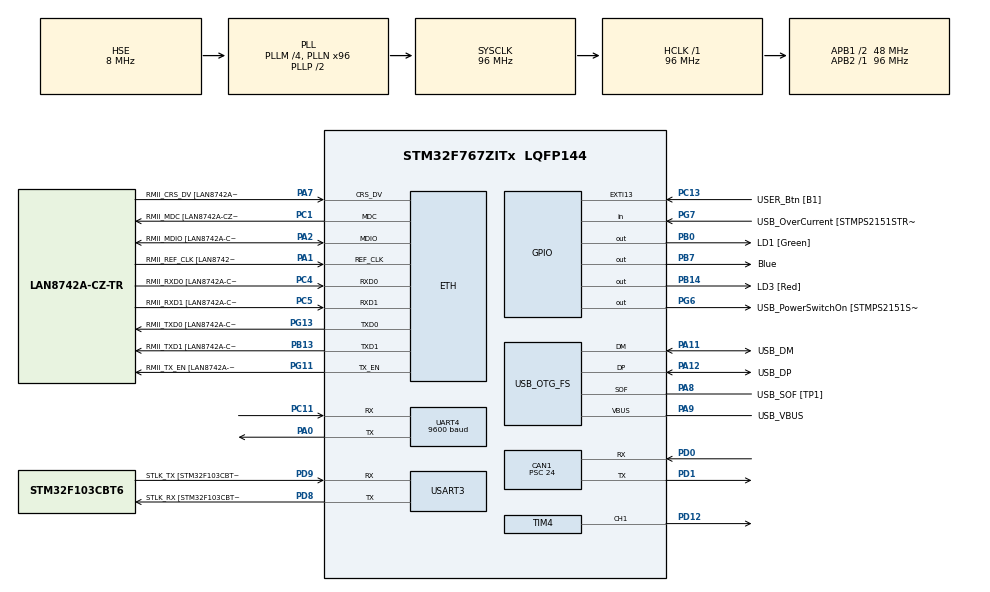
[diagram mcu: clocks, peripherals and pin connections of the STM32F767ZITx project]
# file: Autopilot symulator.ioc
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CAN1.BS1=CAN_BS1_2TQ
CAN1.CalculateBaudRate=500000
CAN1.CalculateTimeBit=2000
CAN1.CalculateTimeQuantum=500.0
CAN1.Prescaler=24
Dma.Request0=TIM4_CH1
Dma.TIM4_CH1.0.Direction=DMA_MEMORY_TO_PERIPH
Dma.TIM4_CH1.0.FIFOMode=DMA_FIFOMODE_DISABLE
Dma.TIM4_CH1.0.Instance=DMA1_Stream0
Dma.TIM4_CH1.0.MemDataAlignment=DMA_MDATAALIGN_HALFWORD
Dma.TIM4_CH1.0.MemInc=DMA_MINC_ENABLE
Dma.TIM4_CH1.0.Mode=DMA_NORMAL
Dma.TIM4_CH1.0.PeriphDataAlignment=DMA_PDATAALIGN_HALFWORD
Dma.TIM4_CH1.0.PeriphInc=DMA_PINC_DISABLE
Dma.TIM4_CH1.0.Priority=DMA_PRIORITY_LOW
ETH.MediaInterface=HAL_ETH_RMII_MODE
ETH.PHY_Name=LAN8742A_PHY_ADDRESS
ETH.PHY_Value=0
ETH.PhyAddress=0
Mcu.Family=STM32F7
Mcu.Name=STM32F767ZITx
Mcu.Package=LQFP144
NVIC.CAN1_RX0_IRQn=true\:0\:0\:false\:false\:true\:true\:true\:true
NVIC.DMA1_Stream0_IRQn=true\:0\:0\:false\:false\:true\:false\:true\:true
NVIC.PriorityGroup=NVIC_PRIORITYGROUP_4
NVIC.UART4_IRQn=true\:0\:0\:false\:false\:true\:true\:true\:true
PA0/WKUP.Mode=Asynchronous
PA0/WKUP.Signal=UART4_TX
PA1.GPIO_Label=RMII_REF_CLK [LAN8742A-CZ-TR_REFCLK0]
PA1.Mode=RMII
PA1.Signal=ETH_REF_CLK
PA10.GPIO_Label=USB_ID
PA10.Signal=USB_OTG_FS_ID
PA11.GPIO_Label=USB_DM
PA11.Mode=Device_Only
PA11.Signal=USB_OTG_FS_DM
PA12.GPIO_Label=USB_DP
PA12.Mode=Device_Only
PA12.Signal=USB_OTG_FS_DP
PA13.GPIO_Label=TMS
PA13.Mode=Serial_Wire
PA13.Signal=SYS_JTMS-SWDIO
PA14.GPIO_Label=TCK
PA14.Mode=Serial_Wire
PA14.Signal=SYS_JTCK-SWCLK
PA2.GPIO_Label=RMII_MDIO [LAN8742A-CZ-TR_MDIO]
PA2.Mode=RMII
PA2.Signal=ETH_MDIO
PA7.GPIO_Label=RMII_CRS_DV [LAN8742A-CZ-TR_CRS_DV]
PA7.Mode=RMII
PA7.Signal=ETH_CRS_DV
PA8.GPIO_Label=USB_SOF [TP1]
PA8.Mode=Activate_SOF_FS
PA8.Signal=USB_OTG_FS_SOF
PA9.GPIO_Label=USB_VBUS
PA9.Mode=Activate_VBUS
PA9.Signal=USB_OTG_FS_VBUS
PB0.GPIO_Label=LD1 [Green]
PB0.Signal=GPIO_Output
PB13.GPIO_Label=RMII_TXD1 [LAN8742A-CZ-TR_TXD1]
PB13.Mode=RMII
PB13.Signal=ETH_TXD1
PB14.GPIO_Label=LD3 [Red]
PB14.Signal=GPIO_Output
PB3.GPIO_Label=SWO
PB3.Signal=SYS_JTDO-SWO
PB7.GPIO_Label=Blue
PB7.Signal=GPIO_Output
PC1.GPIO_Label=RMII_MDC [LAN8742A-CZ-TR_MDC]
PC1.Mode=RMII
PC1.Signal=ETH_MDC
PC11.Mode=Asynchronous
PC11.Signal=UART4_RX
PC13.GPIO_Label=USER_Btn [B1]
PC13.Signal=GPXTI13
PC14/OSC32_IN.Mode=LSE-External-Oscillator
PC14/OSC32_IN.Signal=RCC_OSC32_IN
PC15/OSC32_OUT.Mode=LSE-External-Oscillator
PC15/OSC32_OUT.Signal=RCC_OSC32_OUT
PC4.GPIO_Label=RMII_RXD0 [LAN8742A-CZ-TR_RXD0]
PC4.Mode=RMII
PC4.Signal=ETH_RXD0
PC5.GPIO_Label=RMII_RXD1 [LAN8742A-CZ-TR_RXD1]
PC5.Mode=RMII
PC5.Signal=ETH_RXD1
PD0.Mode=CAN_Activate
PD0.Signal=CAN1_RX
PD1.Mode=CAN_Activate
PD1.Signal=CAN1_TX
PD12.Signal=S_TIM4_CH1
PD8.GPIO_Label=STLK_RX [STM32F103CBT6_PA3]
PD8.Mode=Asynchronous
PD8.Signal=USART3_TX
PD9.GPIO_Label=STLK_TX [STM32F103CBT6_PA2]
PD9.Mode=Asynchronous
PD9.Signal=USART3_RX
PG11.GPIO_Label=RMII_TX_EN [LAN8742A-CZ-TR_TXEN]
PG11.Mode=RMII
PG11.Signal=ETH_TX_EN
PG13.GPIO_Label=RMII_TXD0 [LAN8742A-CZ-TR_TXD0]
PG13.Mode=RMII
PG13.Signal=ETH_TXD0
PG6.GPIO_Label=USB_PowerSwitchOn [STMPS2151STR_EN]
PG6.Signal=GPIO_Output
PG7.GPIO_Label=USB_OverCurrent [STMPS2151STR_FAULT]
PG7.Signal=GPIO_Input
PH0/OSC_IN.GPIO_Label=MCO [STM32F103CBT6_PA8]
PH0/OSC_IN.Mode=HSE-External-Oscillator
PH0/OSC_IN.Signal=RCC_OSC_IN
PH1/OSC_OUT.Mode=HSE-External-Oscillator
PH1/OSC_OUT.Signal=RCC_OSC_OUT
ProjectManager.HeapSize=0x200
ProjectManager.StackSize=0x400
ProjectManager.TargetToolchain=STM32CubeIDE
RCC.48MHZClocksFreq_Value=24000000
RCC.AHBFreq_Value=96000000
RCC.APB1CLKDivider=RCC_HCLK_DIV2
RCC.APB1Freq_Value=48000000
RCC.APB1TimFreq_Value=96000000
RCC.APB2Freq_Value=96000000
RCC.APB2TimFreq_Value=96000000
RCC.CortexFreq_Value=96000000
RCC.HCLKFreq_Value=96000000
RCC.HSE_VALUE=8000000
RCC.HSI_VALUE=16000000
RCC.PLLM=4
RCC.PLLMUL=RCC_PLL_MUL9
RCC.PLLN=96
RCC.PLLQ=4
RCC.PRESCALERUSB=RCC_USBCLKSOURCE_PLL_DIV1_5
RCC.SYSCLKFreq_VALUE=96000000
RCC.SYSCLKSource=RCC_SYSCLKSOURCE_PLLCLK
RCC.SYSCLKSourceVirtual=RCC_SYSCLKSOURCE_PLLCLK
RCC.USBFreq_Value=48000000
RCC.VCOOutputFreq_Value=192000000
SH.S_TIM4_CH1.0=TIM4_CH1,PWM Generation1 CH1
TIM4.Channel-PWM\ Generation1\ CH1=TIM_CHANNEL_1
TIM4.Period=5000-1
TIM4.Prescaler=96-1
UART4.BaudRate=9600
USART3.VirtualMode-Asynchronous=VM_ASYNC
USB_OTG_FS.VirtualMode=Device_Only
VP_TIM4_VS_ClockSourceINT.Mode=Internal
board=NUCLEO-F767ZI

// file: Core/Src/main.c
/* USER CODE BEGIN Header */
/**
  ******************************************************************************
  * @file           : main.c
  * @brief          : Main program body
  ******************************************************************************
  * @attention
  *
  * Copyright (c) 2024 STMicroelectronics.
  * All rights reserved.
  *
  * This software is licensed under terms that can be found in the LICENSE file
  * in the root directory of this software component.
  * If no LICENSE file comes with this software, it is provided AS-IS.
  *
  ******************************************************************************
  */
/* USER CODE END Header */
#include "main.h"
#include "string.h"

/* USER CODE BEGIN PTD */
typedef enum {
	NONE,
	PWM,
	CAN
}CommunicationType;
/* USER CODE END PTD */

/* USER CODE BEGIN PD */
#define DELAY 500
#define TX_BUFFER 23
#define TX_BOOT 17
#define TX_PERC 17
#define TX_TYPE 17
#define TX_ASK 16
#define TX_SPEED 17
#define RX_DATA 5
#define UART_TIMEOUT 15
#define NUMBERS 10
#define CAN_DATA 8
/* USER CODE END PD */

#if defined ( __ICCARM__ ) /*!< IAR Compiler */
#pragma location=0x2007c000
ETH_DMADescTypeDef  DMARxDscrTab[ETH_RX_DESC_CNT]; /* Ethernet Rx DMA Descriptors */
#pragma location=0x2007c0a0
ETH_DMADescTypeDef  DMATxDscrTab[ETH_TX_DESC_CNT]; /* Ethernet Tx DMA Descriptors */

#elif defined ( __CC_ARM )  /* MDK ARM Compiler */

__attribute__((at(0x2007c000))) ETH_DMADescTypeDef  DMARxDscrTab[ETH_RX_DESC_CNT]; /* Ethernet Rx DMA Descriptors */
__attribute__((at(0x2007c0a0))) ETH_DMADescTypeDef  DMATxDscrTab[ETH_TX_DESC_CNT]; /* Ethernet Tx DMA Descriptors */

#elif defined ( __GNUC__ ) /* GNU Compiler */
ETH_DMADescTypeDef DMARxDscrTab[ETH_RX_DESC_CNT] __attribute__((section(".RxDecripSection"))); /* Ethernet Rx DMA Descriptors */
ETH_DMADescTypeDef DMATxDscrTab[ETH_TX_DESC_CNT] __attribute__((section(".TxDecripSection")));   /* Ethernet Tx DMA Descriptors */

#endif

ETH_TxPacketConfig TxConfig;

CAN_HandleTypeDef hcan1;

ETH_HandleTypeDef heth;

TIM_HandleTypeDef htim4;
DMA_HandleTypeDef hdma_tim4_ch1;

UART_HandleTypeDef huart4;
UART_HandleTypeDef huart3;

PCD_HandleTypeDef hpcd_USB_OTG_FS;

/* USER CODE BEGIN PV */
const uint8_t tx_boot[TX_BOOT] = "I'm up babyyyyy\n\r";
uint8_t tx_perc[TX_PERC] = "Ustawiam xyz%  \n\r";
uint8_t tx_type[TX_TYPE] = "Ustawiam xyz   \n\r";
uint8_t tx_ask[TX_ASK] = "Ustawione NONE \n";
uint8_t tx_ask_speed[TX_SPEED] = "Ustawione  50% \n\r";
uint8_t rx_data[RX_DATA];

const uint8_t numbers[NUMBERS] = {'0', '1', '2', '3' , '4', '5', '6', '7', '8', '9'};

int at_found = 0;
int percentageNumber = 0;
CommunicationType communication_type = NONE;
int test = 0;

CAN_TxHeaderTypeDef TxHeader;
CAN_RxHeaderTypeDef RxHeader;

uint8_t txData[CAN_DATA];
uint8_t rxData[CAN_DATA];

uint32_t txMailbox;
/* USER CODE END PV */

void SystemClock_Config(void);
static void MX_GPIO_Init(void);
static void MX_DMA_Init(void);
static void MX_USART3_UART_Init(void);
static void MX_USB_OTG_FS_PCD_Init(void);
static void MX_UART4_Init(void);
static void MX_TIM4_Init(void);
static void MX_ETH_Init(void);
static void MX_CAN1_Init(void);

int main(void)
{

  /* MCU Configuration--------------------------------------------------------*/

  /* Reset of all peripherals, Initializes the Flash interface and the Systick. */
  HAL_Init();

  /* Configure the system clock */
  SystemClock_Config();

  /* Initialize all configured peripherals */
  MX_GPIO_Init();
  MX_DMA_Init();
  MX_USART3_UART_Init();
  MX_USB_OTG_FS_PCD_Init();
  MX_UART4_Init();
  MX_TIM4_Init();
  MX_ETH_Init();
  MX_CAN1_Init();
  /* USER CODE BEGIN 2 */

  // start timer
  HAL_UART_Receive_IT(&huart4, rx_data, RX_DATA);
  HAL_UART_Transmit(&huart4, tx_boot, TX_BOOT, UART_TIMEOUT);

  /*
  HAL_CAN_Start(&hcan1);
  HAL_CAN_ActivateNotification(&hcan1, CAN_IT_RX_FIFO0_MSG_PENDING);

  TxHeader.DLC = 1;
  TxHeader.IDE = CAN_ID_STD;
  TxHeader.RTR = CAN_RTR_DATA;
  TxHeader.StdId = 0x466;
	*/
  TIM4->CCR1 = 2500;
//  HAL_TIM_PWM_Start(&htim4, TIM_CHANNEL_1);
  /* USER CODE END 2 */

  /* Infinite loop */
  while (1)
  {

    /* USER CODE BEGIN 3 */
	  switch (communication_type) {
	  	  case NONE:
	  		  if (TIM4->CR1 & TIM_CR1_CEN) {
	  			  HAL_TIM_PWM_Stop(&htim4, TIM_CHANNEL_1);
	  		  }
	  		  break;
	  	  case PWM:
	  		  if (!(TIM4->CR1 & TIM_CR1_CEN)) {
	  			  HAL_TIM_PWM_Start(&htim4, TIM_CHANNEL_1);
	  		  }
	  		  break;
	  	  case CAN:
	  		  if (TIM4->CR1 & TIM_CR1_CEN) {
	  			  HAL_TIM_PWM_Stop(&htim4, TIM_CHANNEL_1);
	  		  }
	  		  break;
	  	  default:
	  		  break;
	  }
  }
  /* USER CODE END 3 */
}

void SystemClock_Config(void)
{
  RCC_OscInitTypeDef RCC_OscInitStruct = {0};
  RCC_ClkInitTypeDef RCC_ClkInitStruct = {0};

  /** Configure LSE Drive Capability
  */
  HAL_PWR_EnableBkUpAccess();

  /** Configure the main internal regulator output voltage
  */
  __HAL_RCC_PWR_CLK_ENABLE();
  __HAL_PWR_VOLTAGESCALING_CONFIG(PWR_REGULATOR_VOLTAGE_SCALE3);

  /** Initializes the RCC Oscillators according to the specified parameters
  * in the RCC_OscInitTypeDef structure.
  */
  RCC_OscInitStruct.OscillatorType = RCC_OSCILLATORTYPE_HSE;
  RCC_OscInitStruct.HSEState = RCC_HSE_ON;
  RCC_OscInitStruct.PLL.PLLState = RCC_PLL_ON;
  RCC_OscInitStruct.PLL.PLLSource = RCC_PLLSOURCE_HSE;
  RCC_OscInitStruct.PLL.PLLM = 4;
  RCC_OscInitStruct.PLL.PLLN = 96;
  RCC_OscInitStruct.PLL.PLLP = RCC_PLLP_DIV2;
  RCC_OscInitStruct.PLL.PLLQ = 4;
  RCC_OscInitStruct.PLL.PLLR = 2;
  if (HAL_RCC_OscConfig(&RCC_OscInitStruct) != HAL_OK)
  {
    Error_Handler();
  }

  /** Activate the Over-Drive mode
  */
  if (HAL_PWREx_EnableOverDrive() != HAL_OK)
  {
    Error_Handler();
  }

  /** Initializes the CPU, AHB and APB buses clocks
  */
  RCC_ClkInitStruct.ClockType = RCC_CLOCKTYPE_HCLK|RCC_CLOCKTYPE_SYSCLK
                              |RCC_CLOCKTYPE_PCLK1|RCC_CLOCKTYPE_PCLK2;
  RCC_ClkInitStruct.SYSCLKSource = RCC_SYSCLKSOURCE_PLLCLK;
  RCC_ClkInitStruct.AHBCLKDivider = RCC_SYSCLK_DIV1;
  RCC_ClkInitStruct.APB1CLKDivider = RCC_HCLK_DIV2;
  RCC_ClkInitStruct.APB2CLKDivider = RCC_HCLK_DIV1;

  if (HAL_RCC_ClockConfig(&RCC_ClkInitStruct, FLASH_LATENCY_3) != HAL_OK)
  {
    Error_Handler();
  }
}

static void MX_CAN1_Init(void)
{

  hcan1.Instance = CAN1;
  hcan1.Init.Prescaler = 24;
  hcan1.Init.Mode = CAN_MODE_NORMAL;
  hcan1.Init.SyncJumpWidth = CAN_SJW_1TQ;
  hcan1.Init.TimeSeg1 = CAN_BS1_2TQ;
  hcan1.Init.TimeSeg2 = CAN_BS2_1TQ;
  hcan1.Init.TimeTriggeredMode = DISABLE;
  hcan1.Init.AutoBusOff = DISABLE;
  hcan1.Init.AutoWakeUp = DISABLE;
  hcan1.Init.AutoRetransmission = DISABLE;
  hcan1.Init.ReceiveFifoLocked = DISABLE;
  hcan1.Init.TransmitFifoPriority = DISABLE;
  if (HAL_CAN_Init(&hcan1) != HAL_OK)
  {
    Error_Handler();
  }

}

static void MX_ETH_Init(void)
{

   static uint8_t MACAddr[6];

  heth.Instance = ETH;
  MACAddr[0] = 0x00;
  MACAddr[1] = 0x80;
  MACAddr[2] = 0xE1;
  MACAddr[3] = 0x00;
  MACAddr[4] = 0x00;
  MACAddr[5] = 0x00;
  heth.Init.MACAddr = &MACAddr[0];
  heth.Init.MediaInterface = HAL_ETH_RMII_MODE;
  heth.Init.TxDesc = DMATxDscrTab;
  heth.Init.RxDesc = DMARxDscrTab;
  heth.Init.RxBuffLen = 1524;

  if (HAL_ETH_Init(&heth) != HAL_OK)
  {
    Error_Handler();
  }

  memset(&TxConfig, 0 , sizeof(ETH_TxPacketConfig));
  TxConfig.Attributes = ETH_TX_PACKETS_FEATURES_CSUM | ETH_TX_PACKETS_FEATURES_CRCPAD;
  TxConfig.ChecksumCtrl = ETH_CHECKSUM_IPHDR_PAYLOAD_INSERT_PHDR_CALC;
  TxConfig.CRCPadCtrl = ETH_CRC_PAD_INSERT;

}

static void MX_TIM4_Init(void)
{

  TIM_ClockConfigTypeDef sClockSourceConfig = {0};
  TIM_MasterConfigTypeDef sMasterConfig = {0};
  TIM_OC_InitTypeDef sConfigOC = {0};

  htim4.Instance = TIM4;
  htim4.Init.Prescaler = 96-1;
  htim4.Init.CounterMode = TIM_COUNTERMODE_UP;
  htim4.Init.Period = 5000-1;
  htim4.Init.ClockDivision = TIM_CLOCKDIVISION_DIV1;
  htim4.Init.AutoReloadPreload = TIM_AUTORELOAD_PRELOAD_DISABLE;
  if (HAL_TIM_Base_Init(&htim4) != HAL_OK)
  {
    Error_Handler();
  }
  sClockSourceConfig.ClockSource = TIM_CLOCKSOURCE_INTERNAL;
  if (HAL_TIM_ConfigClockSource(&htim4, &sClockSourceConfig) != HAL_OK)
  {
    Error_Handler();
  }
  if (HAL_TIM_PWM_Init(&htim4) != HAL_OK)
  {
    Error_Handler();
  }
  sMasterConfig.MasterOutputTrigger = TIM_TRGO_RESET;
  sMasterConfig.MasterSlaveMode = TIM_MASTERSLAVEMODE_DISABLE;
  if (HAL_TIMEx_MasterConfigSynchronization(&htim4, &sMasterConfig) != HAL_OK)
  {
    Error_Handler();
  }
  sConfigOC.OCMode = TIM_OCMODE_PWM1;
  sConfigOC.Pulse = 0;
  sConfigOC.OCPolarity = TIM_OCPOLARITY_HIGH;
  sConfigOC.OCFastMode = TIM_OCFAST_DISABLE;
  if (HAL_TIM_PWM_ConfigChannel(&htim4, &sConfigOC, TIM_CHANNEL_1) != HAL_OK)
  {
    Error_Handler();
  }
  HAL_TIM_MspPostInit(&htim4);

}

static void MX_UART4_Init(void)
{

  huart4.Instance = UART4;
  huart4.Init.BaudRate = 9600;
  huart4.Init.WordLength = UART_WORDLENGTH_8B;
  huart4.Init.StopBits = UART_STOPBITS_1;
  huart4.Init.Parity = UART_PARITY_NONE;
  huart4.Init.Mode = UART_MODE_TX_RX;
  huart4.Init.HwFlowCtl = UART_HWCONTROL_NONE;
  huart4.Init.OverSampling = UART_OVERSAMPLING_16;
  huart4.Init.OneBitSampling = UART_ONE_BIT_SAMPLE_DISABLE;
  huart4.AdvancedInit.AdvFeatureInit = UART_ADVFEATURE_NO_INIT;
  if (HAL_UART_Init(&huart4) != HAL_OK)
  {
    Error_Handler();
  }

}

static void MX_USART3_UART_Init(void)
{

  huart3.Instance = USART3;
  huart3.Init.BaudRate = 115200;
  huart3.Init.WordLength = UART_WORDLENGTH_8B;
  huart3.Init.StopBits = UART_STOPBITS_1;
  huart3.Init.Parity = UART_PARITY_NONE;
  huart3.Init.Mode = UART_MODE_TX_RX;
  huart3.Init.HwFlowCtl = UART_HWCONTROL_NONE;
  huart3.Init.OverSampling = UART_OVERSAMPLING_16;
  huart3.Init.OneBitSampling = UART_ONE_BIT_SAMPLE_DISABLE;
  huart3.AdvancedInit.AdvFeatureInit = UART_ADVFEATURE_NO_INIT;
  if (HAL_UART_Init(&huart3) != HAL_OK)
  {
    Error_Handler();
  }

}

static void MX_USB_OTG_FS_PCD_Init(void)
{

  hpcd_USB_OTG_FS.Instance = USB_OTG_FS;
  hpcd_USB_OTG_FS.Init.dev_endpoints = 6;
  hpcd_USB_OTG_FS.Init.speed = PCD_SPEED_FULL;
  hpcd_USB_OTG_FS.Init.dma_enable = DISABLE;
  hpcd_USB_OTG_FS.Init.phy_itface = PCD_PHY_EMBEDDED;
  hpcd_USB_OTG_FS.Init.Sof_enable = ENABLE;
  hpcd_USB_OTG_FS.Init.low_power_enable = DISABLE;
  hpcd_USB_OTG_FS.Init.lpm_enable = DISABLE;
  hpcd_USB_OTG_FS.Init.vbus_sensing_enable = ENABLE;
  hpcd_USB_OTG_FS.Init.use_dedicated_ep1 = DISABLE;
  if (HAL_PCD_Init(&hpcd_USB_OTG_FS) != HAL_OK)
  {
    Error_Handler();
  }

}

static void MX_DMA_Init(void)
{

  /* DMA controller clock enable */
  __HAL_RCC_DMA1_CLK_ENABLE();

  /* DMA interrupt init */
  /* DMA1_Stream0_IRQn interrupt configuration */
  HAL_NVIC_SetPriority(DMA1_Stream0_IRQn, 0, 0);
  HAL_NVIC_EnableIRQ(DMA1_Stream0_IRQn);

}

static void MX_GPIO_Init(void)
{
  GPIO_InitTypeDef GPIO_InitStruct = {0};

  /* GPIO Ports Clock Enable */
  __HAL_RCC_GPIOC_CLK_ENABLE();
  __HAL_RCC_GPIOH_CLK_ENABLE();
  __HAL_RCC_GPIOA_CLK_ENABLE();
  __HAL_RCC_GPIOB_CLK_ENABLE();
  __HAL_RCC_GPIOD_CLK_ENABLE();
  __HAL_RCC_GPIOG_CLK_ENABLE();

  /*Configure GPIO pin Output Level */
  HAL_GPIO_WritePin(GPIOB, LD1_Pin|LD3_Pin|Blue_Pin, GPIO_PIN_RESET);

  /*Configure GPIO pin Output Level */
  HAL_GPIO_WritePin(USB_PowerSwitchOn_GPIO_Port, USB_PowerSwitchOn_Pin, GPIO_PIN_RESET);

  /*Configure GPIO pin : USER_Btn_Pin */
  GPIO_InitStruct.Pin = USER_Btn_Pin;
  GPIO_InitStruct.Mode = GPIO_MODE_IT_RISING;
  GPIO_InitStruct.Pull = GPIO_NOPULL;
  HAL_GPIO_Init(USER_Btn_GPIO_Port, &GPIO_InitStruct);

  /*Configure GPIO pins : LD1_Pin LD3_Pin Blue_Pin */
  GPIO_InitStruct.Pin = LD1_Pin|LD3_Pin|Blue_Pin;
  GPIO_InitStruct.Mode = GPIO_MODE_OUTPUT_PP;
  GPIO_InitStruct.Pull = GPIO_NOPULL;
  GPIO_InitStruct.Speed = GPIO_SPEED_FREQ_LOW;
  HAL_GPIO_Init(GPIOB, &GPIO_InitStruct);

  /*Configure GPIO pin : USB_PowerSwitchOn_Pin */
  GPIO_InitStruct.Pin = USB_PowerSwitchOn_Pin;
  GPIO_InitStruct.Mode = GPIO_MODE_OUTPUT_PP;
  GPIO_InitStruct.Pull = GPIO_NOPULL;
  GPIO_InitStruct.Speed = GPIO_SPEED_FREQ_LOW;
  HAL_GPIO_Init(USB_PowerSwitchOn_GPIO_Port, &GPIO_InitStruct);

  /*Configure GPIO pin : USB_OverCurrent_Pin */
  GPIO_InitStruct.Pin = USB_OverCurrent_Pin;
  GPIO_InitStruct.Mode = GPIO_MODE_INPUT;
  GPIO_InitStruct.Pull = GPIO_NOPULL;
  HAL_GPIO_Init(USB_OverCurrent_GPIO_Port, &GPIO_InitStruct);

}

/* USER CODE BEGIN 4 */

//usart callback
void HAL_UART_RxCpltCallback(UART_HandleTypeDef *huart) {
	if (huart == &huart4) { // Check if the callback is for huart4

		if (rx_data[0] == 'A' && rx_data[1] == 'T') {
			at_found = 1;
		}

		if (at_found) {
			int rx_numbers_index = 0;

			for (int i = 0; i <= NUMBERS; i++) {
				if (rx_data[2] == numbers[i]) {
					rx_numbers_index++;
					break;
				}
			}

			if (rx_numbers_index == 1) {
				for (int i = 0; i <= NUMBERS; i++) {
					if (rx_data[3] == numbers[i]) {
						rx_numbers_index++;
						break;
					}
				}
			}

			if (rx_numbers_index == 2) {
				for (int i = 0; i <= NUMBERS; i++) {
					if (rx_data[4] == numbers[i]) {
						rx_numbers_index++;
						break;
					}
				}
			}

			if (rx_numbers_index == 3) {

				// percentage of speed 0 - 100 %
				percentageNumber = 100 * ((int)rx_data[2] - 48) + 10 * ((int)rx_data[3] - 48) + ((int)rx_data[4] - 48);

				if (percentageNumber > 100) {
					percentageNumber = 100;
					rx_data[2] = (uint8_t) 49;
					rx_data[3] = (uint8_t) 48;
					rx_data[4] = (uint8_t) 48;
				}
				// Can data
				txData[0] = percentageNumber;

				// Message for user
				if (rx_data[2] == '0') {
					tx_perc[9] = ' ';
					tx_ask_speed[10] = ' ';
				} else {
					tx_perc[9] = rx_data[2];
					tx_ask_speed[10] = rx_data[2];
				}
				tx_perc[10] = rx_data[3];
				tx_perc[11] = rx_data[4];

				tx_ask_speed[11] = rx_data[3];
				tx_ask_speed[12] = rx_data[4];

				HAL_UART_Transmit(&huart4, tx_perc, TX_PERC, UART_TIMEOUT);

				// Duty
				TIM4->CCR1 = 4000 * percentageNumber/100 + 500;
				test = 4000 * percentageNumber/100 + 500;

				at_found = 0;
			}

			if (rx_data[2] == 'N' && rx_data[3] == 'O' && rx_data[4] == 'N') {
				communication_type = NONE;

				tx_type[9] = rx_data[2];
				tx_type[10] = rx_data[3];
				tx_type[11] = rx_data[4];
				tx_type[12] = 'E';

				tx_ask[10] = rx_data[2];
				tx_ask[11] = rx_data[3];
				tx_ask[12] = rx_data[4];
				tx_ask[13] = 'E';

				HAL_UART_Transmit(&huart4, tx_type, TX_TYPE, UART_TIMEOUT);
			}
			if (rx_data[2] == 'P' && rx_data[3] == 'W' && rx_data[4] == 'M') {
				communication_type = PWM;

				tx_type[9] = rx_data[2];
				tx_type[10] = rx_data[3];
				tx_type[11] = rx_data[4];
				tx_type[12] = ' ';

				tx_ask[10] = rx_data[2];
				tx_ask[11] = rx_data[3];
				tx_ask[12] = rx_data[4];
				tx_ask[13] = ' ';

				HAL_UART_Transmit(&huart4, tx_type, TX_TYPE, UART_TIMEOUT);
			}
			if (rx_data[2] == 'C' && rx_data[3] == 'A' && rx_data[4] == 'N') {
				communication_type = CAN;
				tx_type[9] = rx_data[2];
				tx_type[10] = rx_data[3];
				tx_type[11] = rx_data[4];
				tx_type[12] = ' ';

				tx_ask[10] = rx_data[2];
				tx_ask[11] = rx_data[3];
				tx_ask[12] = rx_data[4];
				tx_ask[13] = ' ';

				HAL_UART_Transmit(&huart4, tx_type, TX_TYPE, UART_TIMEOUT);
			}

			if (rx_data[2] == 'W' && rx_data[3] == 'H' && rx_data[4] == 'T') {
				HAL_UART_Transmit(&huart4, tx_ask, TX_ASK, UART_TIMEOUT);
				HAL_UART_Transmit(&huart4, tx_ask_speed, TX_SPEED, UART_TIMEOUT);
			}
		}
		HAL_UART_Receive_IT(&huart4, rx_data, RX_DATA);
	}

}
/* USER CODE END 4 */

void Error_Handler(void)
{
  __disable_irq();
  while (1)
  {
  }
}
